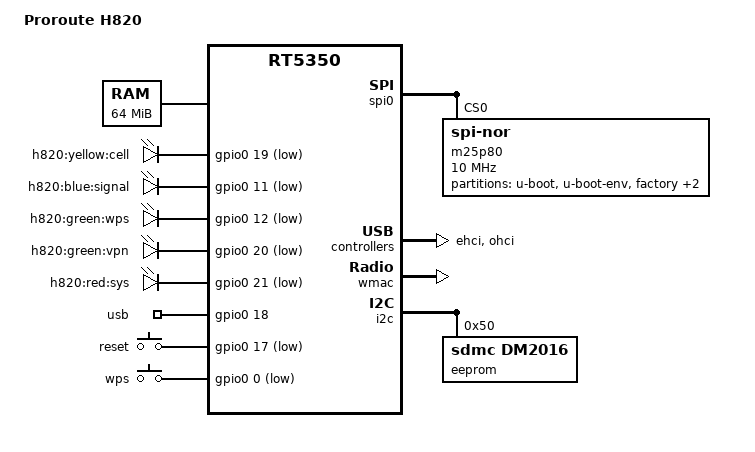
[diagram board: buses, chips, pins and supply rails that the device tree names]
/dts-v1/;

#include "rt5350.dtsi"

#include <dt-bindings/gpio/gpio.h>
#include <dt-bindings/input/input.h>

/ {
	compatible = "proroute,h820", "ralink,rt5350-soc";
	model = "Proroute H820";

	memory@0 {
		device_type = "memory";
		reg = <0x0 0x4000000>;
	};

	aliases {
		led-boot = &led_system;
		led-failsafe = &led_system;
		led-running = &led_system;
		led-upgrade = &led_system;
	};

	leds {
		compatible = "gpio-leds";

		cell {
			label = "h820:yellow:cell";
			gpios = <&gpio0 19 GPIO_ACTIVE_LOW>;
		};

		signal {
			label = "h820:blue:signal";
			gpios = <&gpio0 11 GPIO_ACTIVE_LOW>;
		};

		wps {
			label = "h820:green:wps";
			gpios = <&gpio0 12 GPIO_ACTIVE_LOW>;
		};

		vpn {
			label = "h820:green:vpn";
			gpios = <&gpio0 20 GPIO_ACTIVE_LOW>;
		};

		led_system: sys {
			label = "h820:red:sys";
			gpios = <&gpio0 21 GPIO_ACTIVE_LOW>;
		};
	};

	gpio_export {
		compatible = "gpio-export";
		#size-cells = <0>;

		usb {
			gpio-export,name = "usb";
			gpio-export,output = <1>;
			gpios = <&gpio0 18 GPIO_ACTIVE_HIGH>;
		};
	};

	keys {
		compatible = "gpio-keys-polled";
		#address-cells = <1>;
		#size-cells = <0>;
		poll-interval = <20>;

		reset {
			label = "reset";
			gpios = <&gpio0 17 GPIO_ACTIVE_LOW>;
			linux,code = <KEY_RESTART>;
		};
		wps {
			label = "wps";
			gpios = <&gpio0 0 GPIO_ACTIVE_LOW>;
			linux,code = <KEY_WPS_BUTTON>;
		};
	};
};

&spi0 {
	status = "okay";

	m25p80@0 {
		compatible = "jedec,spi-nor";
		reg = <0>;
		spi-max-frequency = <10000000>;

		partitions {
			compatible = "fixed-partitions";
			#address-cells = <1>;
			#size-cells = <1>;

			partition@0 {
				label = "u-boot";
				reg = <0x0 0x30000>;
				read-only;
			};

			partition@30000 {
				label = "u-boot-env";
				reg = <0x30000 0x20000>;
				read-only;
			};

			factory: partition@50000 {
				label = "factory";
				reg = <0x50000 0x10000>;
				read-only;
			};

			partition@60000 {
				label = "user_fs";
				reg = <0x60000 0x1a0000>;
			};

			partition@200000 {
				compatible = "denx,uimage";
				label = "firmware";
				reg = <0x200000 0x600000>;
			};
		};
	};
};

&ehci {
	status = "okay";
};

&ohci {
	status = "okay";
};

&ethernet {
	mtd-mac-address = <&factory 0x28>;
};

&esw {
	mediatek,portmap = <0x2f>;
	mediatek,led_polarity = <0x17>;
};

&wmac {
	ralink,mtd-eeprom = <&factory 0>;
	ralink,led-polarity = <1>;
};

&pinctrl {
	state_default: pinctrl0 {
		gpio {
			ralink,group = "jtag", "uartf";
			ralink,function = "gpio";
		};
	};
};

&i2c {
	status = "okay";

	/* SDMC DM2016 1024 bit EEPROM + 128 bit OTP */
	eeprom: dm2016@50 {
		compatible = "sdmc,dm2016";
		reg = <0x50>;
	};
};
